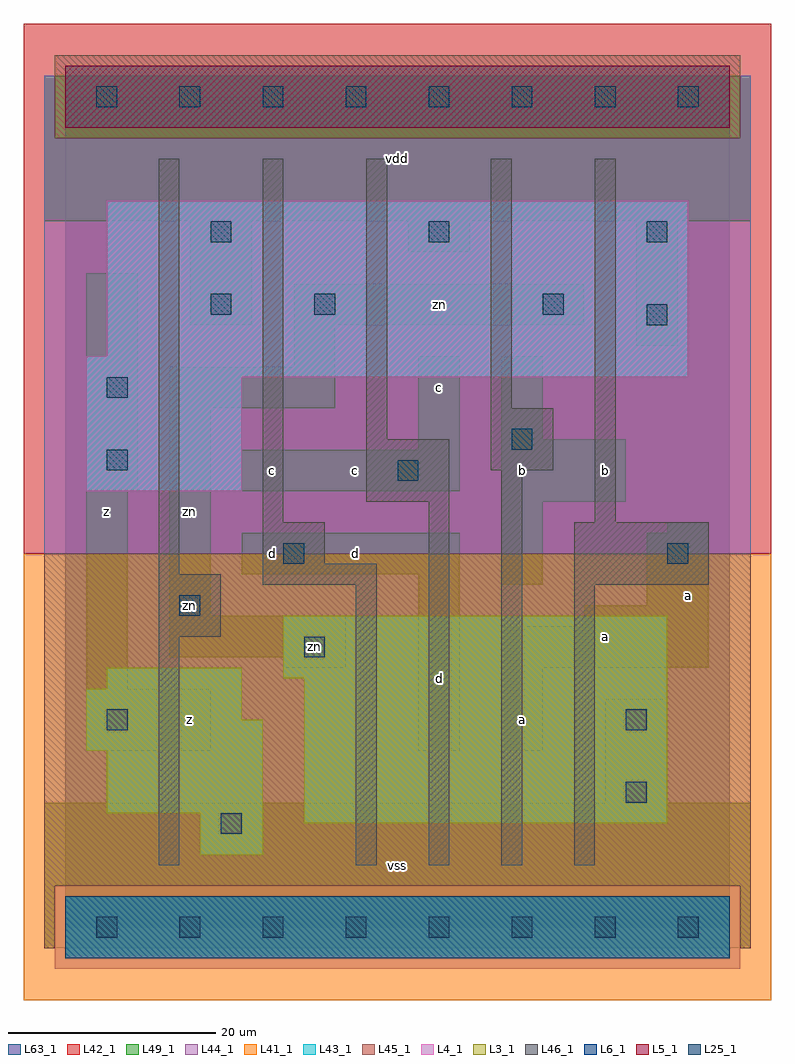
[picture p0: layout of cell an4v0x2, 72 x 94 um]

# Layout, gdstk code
import gdstk
lib = gdstk.Library(unit=1e-6, precision=1e-09)
def R(c, l, rs):  # rectangles x0, y0, x1, y1
    for r in rs: c.add(gdstk.rectangle(r[:2], r[2:], *l))
def A(c, l, x, y, w, h, nx, ny, dx, dy):  # array of equal rectangles
    R(c, l, [(x+i*dx, y+j*dy, x+i*dx+w, y+j*dy+h) for i in range(nx) for j in range(ny)])
L3_1 = (3, 1)
L4_1 = (4, 1)
L5_1 = (5, 1)
L6_1 = (6, 1)
L25_1 = (25, 1)
L41_1 = (41, 1)
L42_1 = (42, 1)
L43_1 = (43, 1)
L44_1 = (44, 1)
L45_1 = (45, 1)
L46_1 = (46, 1)
L49_1 = (49, 1)
L63_1 = (63, 1)

an4v0x2 = lib.new_cell('an4v0x2')
R(an4v0x2, L3_1, [(13,7,19,11), (23,10,58,24), (4,11,19,17), (2,17,19,20), (2,20,17,23), (4,23,17,25), (21,24,58,30)])
R(an4v0x2, L4_1, [(2,42,17,53), (2,53,60,55), (4,55,60,70)])
R(an4v0x2, L5_1, [(0,77,64,83)])
R(an4v0x2, L6_1, [(0,-3,64,3), (0,-3,64,3)])
A(an4v0x2, L25_1, 3, -1, 2, 2, 8, 2, 8, 80)
A(an4v0x2, L25_1, 14, 66, 2, 2, 3, 1, 21, 0)
R(an4v0x2, L25_1, [(15,9,17,11), (54,12,56,14), (4,19,6,21), (54,19,56,21), (23,26,25,28), (11,30,13,32), (21,35,23,37), (58,35,60,37), (32,43,34,45), (4,44,6,46), (43,46,45,48), (4,51,6,53), (56,58,58,60), (14,59,16,61), (24,59,26,61), (46,59,48,61)])
R(an4v0x2, L41_1, [(-4,-7,68,36)])
R(an4v0x2, L42_1, [(-4,36,68,87)])
R(an4v0x2, L43_1, [(0,-3,64,3), (13,7,19,11), (23,10,58,24), (4,11,19,17), (2,17,19,20), (2,20,17,23), (4,23,17,25), (21,24,58,30), (2,42,17,53), (2,53,60,55), (4,55,60,70), (0,77,64,83)])
R(an4v0x2, L44_1, [(-1,-4,65,4), (-2,36,66,76), (-2,76,-1,82), (65,76,66,82)])
R(an4v0x2, L45_1, [(-2,-2,-1,4), (65,-2,66,4), (-2,4,66,36), (-1,76,65,84)])
R(an4v0x2, L46_1, [(9,6,11,28), (28,6,30,33), (35,6,37,41), (42,6,44,44), (49,6,51,33), (9,28,15,34), (19,33,30,35), (49,33,62,39), (9,34,11,74), (19,35,25,39), (19,39,21,74), (51,39,53,74), (29,41,37,47), (41,44,47,50), (29,47,31,74), (41,50,43,74)])
R(an4v0x2, L49_1, [(-2,-2,66,12), (52,12,58,22), (2,17,14,23), (34,17,38,34), (42,17,46,25), (2,23,6,42), (21,25,27,26), (42,25,62,29), (10,26,27,30), (50,29,62,31), (10,30,14,50), (56,31,62,38), (42,33,46,41), (17,34,38,38), (58,38,62,39), (42,41,54,47), (2,42,7,63), (17,42,38,46), (34,46,38,55), (42,47,46,55), (10,50,26,54), (22,54,26,58), (55,56,59,68), (12,58,18,68), (22,58,50,62), (33,65,39,68), (-2,68,66,82)])
R(an4v0x2, L63_1, [(0,0,64,80)])
an4v0x2.add(gdstk.Label('zn', (12,31), layer=49, texttype=1))
an4v0x2.add(gdstk.Label('z', (4,40), layer=49, texttype=1))
an4v0x2.add(gdstk.Label('z', (12,20), layer=49, texttype=1))
an4v0x2.add(gdstk.Label('c', (20,44), layer=49, texttype=1))
an4v0x2.add(gdstk.Label('d', (20,36), layer=49, texttype=1))
an4v0x2.add(gdstk.Label('zn', (12,40), layer=49, texttype=1))
an4v0x2.add(gdstk.Label('vss', (32,6), layer=49, texttype=1))
an4v0x2.add(gdstk.Label('zn', (24,27), layer=49, texttype=1))
an4v0x2.add(gdstk.Label('d', (36,24), layer=49, texttype=1))
an4v0x2.add(gdstk.Label('d', (28,36), layer=49, texttype=1))
an4v0x2.add(gdstk.Label('c', (28,44), layer=49, texttype=1))
an4v0x2.add(gdstk.Label('c', (36,52), layer=49, texttype=1))
an4v0x2.add(gdstk.Label('vdd', (32,74), layer=49, texttype=1))
an4v0x2.add(gdstk.Label('a', (44,20), layer=49, texttype=1))
an4v0x2.add(gdstk.Label('b', (44,44), layer=49, texttype=1))
an4v0x2.add(gdstk.Label('zn', (36,60), layer=49, texttype=1))
an4v0x2.add(gdstk.Label('a', (52,28), layer=49, texttype=1))
an4v0x2.add(gdstk.Label('a', (60,32), layer=49, texttype=1))
an4v0x2.add(gdstk.Label('b', (52,44), layer=49, texttype=1))

lib.write_gds('an4v0x2.gds')
